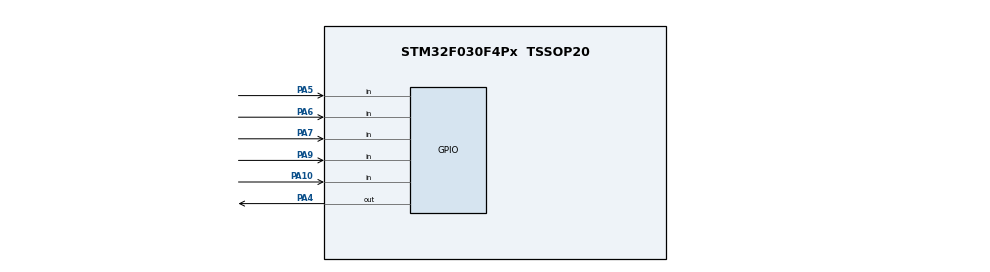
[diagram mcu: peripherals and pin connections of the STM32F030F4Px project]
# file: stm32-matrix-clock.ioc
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Mcu.Family=STM32F0
Mcu.Name=STM32F030F4Px
Mcu.Package=TSSOP20
PA10.Signal=GPIO_Input
PA13.Mode=Serial_Wire
PA13.Signal=SYS_SWDIO
PA14.Mode=Serial_Wire
PA14.Signal=SYS_SWCLK
PA4.GPIO_ModeDefaultOutputPP=GPIO_MODE_OUTPUT_OD
PA4.PinState=GPIO_PIN_SET
PA4.Signal=GPIO_Output
PA5.Signal=GPIO_Input
PA6.Signal=GPIO_Input
PA7.Signal=GPIO_Input
PA9.Signal=GPIO_Input
PF0-OSC_IN.Mode=HSE-External-Oscillator
PF0-OSC_IN.Signal=RCC_OSC_IN
PF1-OSC_OUT.Mode=HSE-External-Oscillator
PF1-OSC_OUT.Signal=RCC_OSC_OUT
ProjectManager.HeapSize=0x200
ProjectManager.StackSize=0x400
ProjectManager.TargetToolchain=SW4STM32
RCC.SYSCLKSource=RCC_SYSCLKSOURCE_HSE
board=custom

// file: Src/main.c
/* USER CODE BEGIN Header */
/**
  ******************************************************************************
  * @file           : main.c
  * @brief          : Main program body
  ******************************************************************************
  * @attention
  *
  * <h2><center>&copy; Copyright (c) 2019 STMicroelectronics.
  * All rights reserved.</center></h2>
  *
  * This software component is licensed by ST under BSD 3-Clause license,
  * the "License"; You may not use this file except in compliance with the
  * License. You may obtain a copy of the License at:
  *                        opensource.org/licenses/BSD-3-Clause
  *
  ******************************************************************************
  */

// stm32f030
// codepage: win-1251
// 11-Oct-2019

/* USER CODE END Header */

#include "main.h"

/* USER CODE BEGIN Includes */

#include "max7219.h"
#include "ds3231.h"

/* USER CODE END Includes */

/* USER CODE BEGIN PV */

uint8_t rtcdata[RTC_DATA_SIZE]={0};  //ds3231 rtc data

uint8_t newrtcdata[RTC_DATA_SIZE]={0};

char strbuff[16]={'\0'};  //string buffer

/* USER CODE END PV */

void SystemClock_Config(void);
static void MX_GPIO_Init(void);

/* USER CODE BEGIN 0 */
//>>>>>>>>>>>>>>>>>>>>>>>>>>>>>>>>>>>>>>>>>>>>>>>>>>>>>>>>>>>>>>>>>>>>>>>>>>>>>

//<<<<<<<<<<<<<<<<<<<<<<<<<<<<<<<<<<<<<<<<<<<<<<<<<<<<<<<<<<<<<<<<<<<<<<<<<<<<<
/* USER CODE END 0 */

int main(void)
{

  /* MCU Configuration--------------------------------------------------------*/

  /* Reset of all peripherals, Initializes the Flash interface and the Systick. */
  HAL_Init();

  /* Configure the system clock */
  SystemClock_Config();

  /* Initialize all configured peripherals */
  MX_GPIO_Init();
  /* USER CODE BEGIN 2 */

  //xxx add 470uF on Matrix VDD line
  HAL_Delay(200);  //delay for matrix power up
  matrix_init();
  matrix_brightness(1);

  i2c_init();
  ds3231_init();

  //set time for testing
/*
  newrtcdata[SECONDS_REG]=50;
  newrtcdata[MINUTES_REG]=13;
  newrtcdata[HOURS_REG]=22;
  newrtcdata[DAY_REG]=5;
  newrtcdata[DATE_REG]=11;
  newrtcdata[MONTH_REG]=10;
  newrtcdata[YEAR_REG]=19;

  rtc_set(newrtcdata);
 */

  /* USER CODE END 2 */

  /* Infinite loop */
  while (1)
  {

    /* USER CODE BEGIN 3 */

    rtc_read(rtcdata);

    matrix_clear_shift();

    sprintf(strbuff, "%2u", rtcdata[HOURS_REG]);
    matrix_print_shift(0,strbuff);

    matrix_char_shift(14, ':');

    sprintf(strbuff, "%02u",rtcdata[MINUTES_REG]);
    matrix_print_shift(20,strbuff);

    matrix_copy_shift(0);

    matrix_update();

    // blink
    HAL_GPIO_WritePin(GPIOA, GPIO_PIN_4, GPIO_PIN_RESET);
    HAL_Delay(30);
    HAL_GPIO_WritePin(GPIOA, GPIO_PIN_4, GPIO_PIN_SET);
    HAL_Delay(300);
  }
  /* USER CODE END 3 */
}

void SystemClock_Config(void)
{
  RCC_OscInitTypeDef RCC_OscInitStruct = {0};
  RCC_ClkInitTypeDef RCC_ClkInitStruct = {0};

  /** Initializes the CPU, AHB and APB busses clocks
  */
  RCC_OscInitStruct.OscillatorType = RCC_OSCILLATORTYPE_HSE;
  RCC_OscInitStruct.HSEState = RCC_HSE_ON;
  RCC_OscInitStruct.PLL.PLLState = RCC_PLL_NONE;
  if (HAL_RCC_OscConfig(&RCC_OscInitStruct) != HAL_OK)
  {
    Error_Handler();
  }
  /** Initializes the CPU, AHB and APB busses clocks
  */
  RCC_ClkInitStruct.ClockType = RCC_CLOCKTYPE_HCLK|RCC_CLOCKTYPE_SYSCLK
                              |RCC_CLOCKTYPE_PCLK1;
  RCC_ClkInitStruct.SYSCLKSource = RCC_SYSCLKSOURCE_HSE;
  RCC_ClkInitStruct.AHBCLKDivider = RCC_SYSCLK_DIV1;
  RCC_ClkInitStruct.APB1CLKDivider = RCC_HCLK_DIV1;

  if (HAL_RCC_ClockConfig(&RCC_ClkInitStruct, FLASH_LATENCY_0) != HAL_OK)
  {
    Error_Handler();
  }
}

static void MX_GPIO_Init(void)
{
  GPIO_InitTypeDef GPIO_InitStruct = {0};

  /* GPIO Ports Clock Enable */
  __HAL_RCC_GPIOF_CLK_ENABLE();
  __HAL_RCC_GPIOA_CLK_ENABLE();

  /*Configure GPIO pin Output Level */
  HAL_GPIO_WritePin(GPIOA, GPIO_PIN_4, GPIO_PIN_SET);

  /*Configure GPIO pin : PA4 */
  GPIO_InitStruct.Pin = GPIO_PIN_4;
  GPIO_InitStruct.Mode = GPIO_MODE_OUTPUT_OD;
  GPIO_InitStruct.Pull = GPIO_NOPULL;
  GPIO_InitStruct.Speed = GPIO_SPEED_FREQ_LOW;
  HAL_GPIO_Init(GPIOA, &GPIO_InitStruct);

  /*Configure GPIO pins : PA5 PA6 PA7 */
  GPIO_InitStruct.Pin = GPIO_PIN_5|GPIO_PIN_6|GPIO_PIN_7;
  GPIO_InitStruct.Mode = GPIO_MODE_INPUT;
  GPIO_InitStruct.Pull = GPIO_NOPULL;
  HAL_GPIO_Init(GPIOA, &GPIO_InitStruct);

}

void Error_Handler(void)
{
}

/************************ (C) COPYRIGHT STMicroelectronics *****END OF FILE****/
